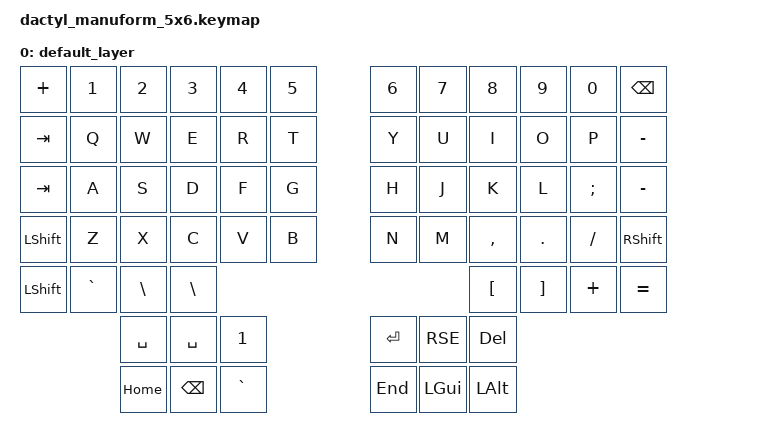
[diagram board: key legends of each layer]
#include <behaviors.dtsi>
#include <dt-bindings/zmk/keys.h>
#include <dt-bindings/zmk/bt.h>
#include <dt-bindings/zmk/outputs.h>

/ {
    keymap {
        compatible = "zmk,keymap";

        default_layer {
            bindings = <
                &kp PLUS  &kp N1 &kp N2 &kp N3 &kp N4 &kp N5              &kp N6 &kp N7   &kp N8    &kp N9   &kp N0   &kp BSPC
                &kp TAB   &kp Q  &kp W  &kp E  &kp R  &kp T               &kp Y  &kp U    &kp I     &kp O    &kp P    &kp MINUS
                &kp TAB   &kp A  &kp S  &kp D  &kp F  &kp G               &kp H  &kp J    &kp K     &kp L    &kp SEMI &kp MINUS
                &kp LSHFT &kp Z  &kp X  &kp C  &kp V  &kp B               &kp N  &kp M    &kp COMMA &kp DOT  &kp FSLH &kp RSHIFT
                &kp LSHFT &kp GRAVE &kp BSLH &kp BSLH                                     &kp LBKT &kp RBKT  &kp PLUS &kp EQUAL
                                 &kp SPACE &kp SPACE &kp N1                &kp RET  &kp RSE  &kp DEL
                                 &kp HOME &kp BSPC  &kp GRAVE             &kp END  &kp LGUI &kp LALT

            >;
        };
    };
};
